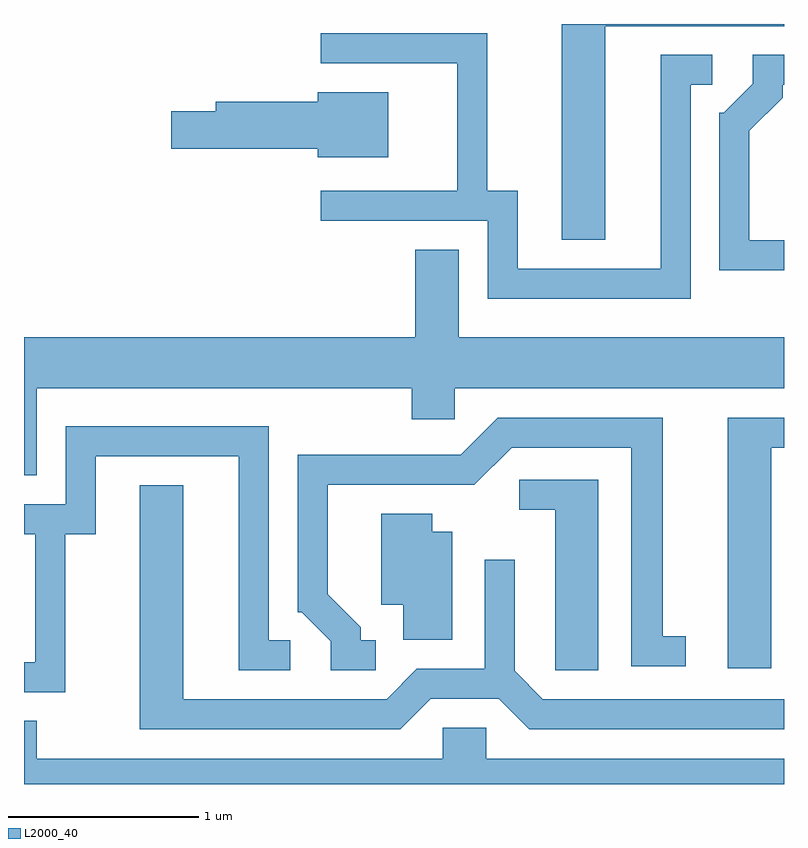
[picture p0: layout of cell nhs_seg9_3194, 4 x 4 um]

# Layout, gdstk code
import gdstk
lib = gdstk.Library(unit=1e-6, precision=1e-09)
def P(c, l, *ps):  # polygons
    for p in ps: c.add(gdstk.Polygon(p, *l))
L2000_40 = (2000, 40)

nhs_seg9_3194 = lib.new_cell('nhs_seg9_3194')
P(nhs_seg9_3194, L2000_40, [(282.669,1960.421),(283.611,1960.421),(283.611,1960.432),(282.441,1960.432),(282.441,1959.296),(282.669,1959.296)],
  [(283.119,1960.111),(283.233,1960.111),(283.233,1960.269),(282.961,1960.269),(282.961,1959.144),(282.209,1959.144),(282.209,1959.554),(282.049,1959.554),(282.049,1960.384),(281.173,1960.384),(281.173,1960.226),(281.891,1960.226),(281.891,1959.554),(281.173,1959.554),(281.173,1959.396),(282.051,1959.396),(282.051,1958.986),(283.119,1958.986)],
  [(283.611,1959.294),(283.429,1959.294),(283.429,1959.869),(283.604,1960.044),(283.604,1960.111),(283.611,1960.111),(283.611,1960.269),(283.446,1960.269),(283.446,1960.117),(283.294,1959.964),(283.271,1959.964),(283.271,1959.136),(283.611,1959.136)],
  [(281.529,1960.074),(281.156,1960.074),(281.156,1960.024),(280.621,1960.024),(280.621,1959.974),(280.386,1959.974),(280.386,1959.776),(281.156,1959.776),(281.156,1959.731),(281.529,1959.731)],
  [(279.679,1958.516),(281.651,1958.516),(281.651,1958.351),(281.879,1958.351),(281.879,1958.516),(283.611,1958.516),(283.611,1958.784),(281.899,1958.784),(281.899,1959.244),(281.671,1959.244),(281.671,1958.784),(279.611,1958.784),(279.611,1958.056),(279.679,1958.056)],
  [(281.463,1957.189),(281.384,1957.189),(281.384,1957.257),(281.209,1957.432),(281.209,1958.006),(281.982,1958.006),(282.177,1958.201),(282.806,1958.201),(282.806,1957.051),(283.093,1957.051),(283.093,1957.209),(282.974,1957.209),(282.974,1958.359),(282.104,1958.359),(281.909,1958.164),(281.051,1958.164),(281.051,1957.336),(281.074,1957.336),(281.226,1957.184),(281.226,1957.031),(281.463,1957.031)],
  [(283.544,1958.201),(283.611,1958.201),(283.611,1958.359),(283.316,1958.359),(283.316,1957.041),(283.544,1957.041)],
  [(279.829,1957.746),(279.989,1957.746),(279.989,1958.156),(280.741,1958.156),(280.741,1957.031),(281.013,1957.031),(281.013,1957.189),(280.899,1957.189),(280.899,1958.314),(279.831,1958.314),(279.831,1957.904),(279.611,1957.904),(279.611,1957.746),(279.671,1957.746),(279.671,1957.074),(279.611,1957.074),(279.611,1956.916),(279.829,1956.916)],
  [(282.634,1958.034),(282.218,1958.034),(282.218,1957.876),(282.406,1957.876),(282.406,1957.031),(282.634,1957.031)],
  [(281.752,1956.881),(282.109,1956.881),(282.269,1956.721),(283.611,1956.721),(283.611,1956.879),(282.342,1956.879),(282.194,1957.027),(282.194,1957.613),(282.036,1957.613),(282.036,1957.039),(281.679,1957.039),(281.519,1956.879),(280.449,1956.879),(280.449,1958.004),(280.221,1958.004),(280.221,1956.721),(281.592,1956.721)],
  [(281.864,1957.759),(281.759,1957.759),(281.759,1957.854),(281.491,1957.854),(281.491,1957.376),(281.606,1957.376),(281.606,1957.191),(281.864,1957.191)],
  [(283.611,1956.564),(282.044,1956.564),(282.044,1956.729),(281.816,1956.729),(281.816,1956.564),(279.679,1956.564),(279.679,1956.764),(279.611,1956.764),(279.611,1956.432),(283.611,1956.432)])

lib.write_gds('nhs_seg9_3194.gds')
